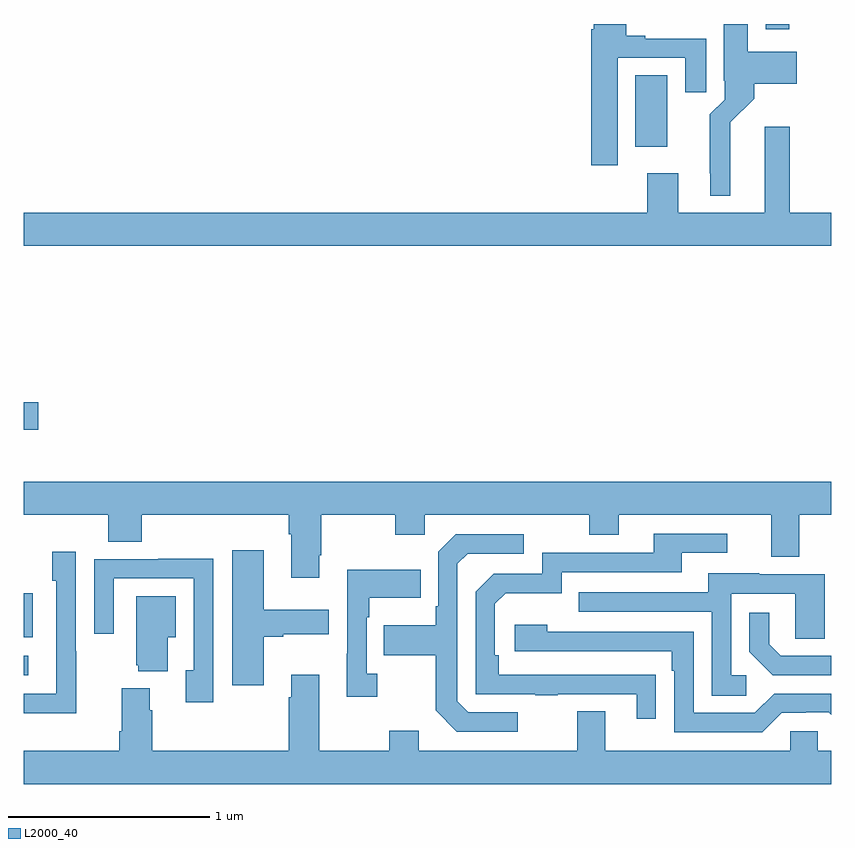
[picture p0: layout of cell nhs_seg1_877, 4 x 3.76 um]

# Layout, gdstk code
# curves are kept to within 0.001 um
import gdstk
lib = gdstk.Library(unit=1e-6, precision=1e-09)
def R(c, l, rs):  # rectangles x0, y0, x1, y1
    for r in rs: c.add(gdstk.rectangle(r[:2], r[2:], *l))
def P(c, l, *ps):  # polygons
    for p in ps: c.add(gdstk.Polygon(p, *l))
L2000_40 = (2000, 40)

nhs_seg1_877 = lib.new_cell('nhs_seg1_877')
R(nhs_seg1_877, L2000_40, [(159,514.974,159.022,515.07), (159,515.162,159.046,515.381), (159,516.191,159.073,516.326), (162.029,517.59,162.187,517.946), (162.675,518.172,162.791,518.199)])
P(nhs_seg1_877, L2000_40, [(161.941,518.031),(162.275,518.031),(162.275,517.86),(162.379,517.86),(162.379,518.127),(162.079,518.127),(162.079,518.14),(161.983,518.14),(161.983,518.199),(161.822,518.199),(161.822,518.174),(161.81,518.174),(161.81,517.5),(161.941,517.5)],
  [(162.499,517.712),(162.617,517.83),(162.617,517.904),(162.829,517.904),(162.829,518.062),(162.586,518.062),(162.586,518.199),(162.467,518.199),(162.467,517.918),(162.471,517.918),(162.471,517.824),(162.398,517.751),(162.398,517.459),(162.401,517.459),(162.401,517.349),(162.499,517.349)],
  [(163,517.264),(162.794,517.264),(162.794,517.69),(162.671,517.69),(162.671,517.264),(162.241,517.264),(162.241,517.459),(162.089,517.459),(162.089,517.264),(159,517.264),(159,517.1),(163,517.1)],
  [(160.465,515.569),(160.473,515.569),(160.473,515.768),(160.84,515.768),(160.84,515.669),(160.986,515.669),(160.986,515.768),(161.8,515.768),(161.8,515.669),(161.947,515.669),(161.947,515.768),(162.701,515.768),(162.701,515.56),(162.841,515.56),(162.841,515.768),(163,515.768),(163,515.932),(159,515.932),(159,515.768),(159.419,515.768),(159.419,515.635),(159.584,515.635),(159.584,515.768),(160.313,515.768),(160.313,515.672),(160.325,515.672),(160.325,515.457),(160.465,515.457)],
  [(162.131,514.976),(161.354,514.977),(161.354,515.074),(161.334,515.074),(161.334,515.328),(161.387,515.381),(161.664,515.381),(161.664,515.484),(162.259,515.484),(162.259,515.58),(162.484,515.58),(162.484,515.676),(162.119,515.676),(162.119,515.58),(161.568,515.58),(161.568,515.478),(161.328,515.478),(161.238,515.388),(161.238,514.881),(161.533,514.881),(161.533,514.876),(161.645,514.876),(161.645,514.881),(162.035,514.881),(162.035,514.758),(162.131,514.758)],
  [(161.446,514.791),(161.202,514.791),(161.148,514.845),(161.148,515.526),(161.199,515.577),(161.476,515.577),(161.476,515.673),(161.139,515.673),(161.052,515.586),(161.052,515.317),(161.04,515.317),(161.04,515.221),(160.783,515.221),(160.783,515.074),(161.04,515.074),(161.04,514.801),(161.145,514.695),(161.446,514.695)],
  [(160.189,515.165),(160.285,515.165),(160.285,515.177),(160.51,515.177),(160.51,515.299),(160.189,515.299),(160.189,515.593),(160.034,515.593),(160.034,514.926),(160.189,514.926)],
  [(159.261,515.093),(159.258,515.093),(159.258,515.587),(159.143,515.587),(159.143,515.442),(159.162,515.442),(159.162,514.884),(159,514.884),(159,514.787),(159.261,514.787)],
  [(159.939,515.552),(159.667,515.552),(159.667,515.55),(159.351,515.55),(159.351,515.181),(159.447,515.181),(159.447,515.454),(159.843,515.454),(159.843,514.998),(159.803,514.998),(159.803,514.842),(159.939,514.842)],
  [(160.75,514.982),(160.698,514.982),(160.698,515.261),(160.711,515.261),(160.711,515.357),(160.967,515.357),(160.967,515.497),(160.602,515.497),(160.602,515.081),(160.601,515.081),(160.601,514.869),(160.75,514.869)],
  [(162.577,514.974),(162.504,514.974),(162.504,515.379),(162.822,515.379),(162.822,515.155),(162.967,515.155),(162.967,515.475),(162.643,515.475),(162.643,515.479),(162.389,515.479),(162.389,515.385),(161.749,515.385),(161.749,515.289),(162.408,515.289),(162.408,514.873),(162.577,514.873)],
  [(159.715,515.162),(159.754,515.162),(159.754,515.365),(159.557,515.365),(159.557,515.025),(159.569,515.025),(159.569,514.994),(159.715,514.994)],
  [(163,515.07),(162.748,515.07),(162.691,515.127),(162.691,515.284),(162.594,515.284),(162.594,515.09),(162.71,514.974),(163,514.974)],
  [(162.753,514.788),(162.872,514.788),(162.872,514.791),(162.987,514.791),(163,514.778),(163,514.884),(162.717,514.884),(162.621,514.788),(162.318,514.788),(162.318,515.19),(161.594,515.19),(161.594,515.224),(161.433,515.224),(161.433,515.094),(162.209,515.094),(162.209,514.997),(162.222,514.997),(162.222,514.692),(162.657,514.692)],
  [(163,514.6),(162.933,514.6),(162.933,514.698),(162.795,514.698),(162.795,514.6),(161.881,514.6),(161.881,514.795),(161.741,514.795),(161.741,514.6),(160.957,514.6),(160.957,514.699),(160.81,514.699),(160.81,514.6),(160.465,514.6),(160.465,514.978),(160.325,514.978),(160.325,514.865),(160.313,514.865),(160.313,514.6),(159.638,514.6),(159.638,514.802),(159.625,514.802),(159.625,514.909),(159.485,514.909),(159.485,514.696),(159.473,514.696),(159.473,514.6),(159,514.6),(159,514.436),(163,514.436)])

lib.write_gds('nhs_seg1_877.gds')
